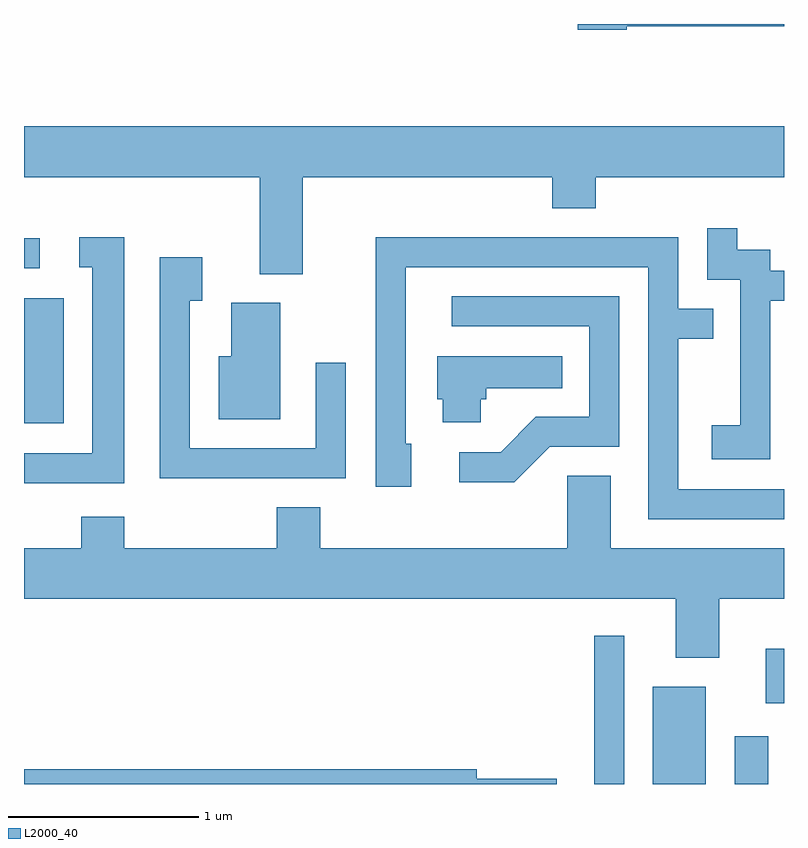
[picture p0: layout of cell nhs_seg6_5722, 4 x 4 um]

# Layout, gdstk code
import gdstk
lib = gdstk.Library(unit=1e-6, precision=1e-09)
def R(c, l, rs):  # rectangles x0, y0, x1, y1
    for r in rs: c.add(gdstk.rectangle(r[:2], r[2:], *l))
def P(c, l, *ps):  # polygons
    for p in ps: c.add(gdstk.Polygon(p, *l))
L2000_40 = (2000, 40)

nhs_seg6_5722 = lib.new_cell('nhs_seg6_5722')
R(nhs_seg6_5722, L2000_40, [(362.611,1560.162,362.769,1560.943), (362.921,1560.162,363.199,1560.674), (363.351,1560.162,363.529,1560.414), (363.516,1560.586,363.611,1560.874), (359.611,1562.061,359.819,1562.719), (359.611,1562.876,359.693,1563.034)])
P(nhs_seg6_5722, L2000_40, [(362.784,1564.151),(363.611,1564.151),(363.611,1564.162),(362.526,1564.162),(362.526,1564.131),(362.784,1564.131)],
  [(361.079,1563.356),(362.391,1563.356),(362.391,1563.191),(362.619,1563.191),(362.619,1563.356),(363.611,1563.356),(363.611,1563.624),(359.611,1563.624),(359.611,1563.356),(360.851,1563.356),(360.851,1562.846),(361.079,1562.846)],
  [(363.539,1562.706),(363.611,1562.706),(363.611,1562.864),(363.539,1562.864),(363.539,1562.974),(363.364,1562.974),(363.364,1563.088),(363.206,1563.088),(363.206,1562.816),(363.381,1562.816),(363.381,1562.049),(363.231,1562.049),(363.231,1561.871),(363.539,1561.871)],
  [(363.611,1561.714),(363.054,1561.714),(363.054,1562.506),(363.238,1562.506),(363.238,1562.664),(363.054,1562.664),(363.054,1563.039),(361.461,1563.039),(361.461,1561.726),(361.649,1561.726),(361.649,1561.954),(361.619,1561.954),(361.619,1562.881),(362.896,1562.881),(362.896,1561.556),(363.611,1561.556)],
  [(360.139,1563.039),(359.903,1563.039),(359.903,1562.881),(359.971,1562.881),(359.971,1561.904),(359.611,1561.904),(359.611,1561.746),(360.139,1561.746)],
  [(361.304,1562.378),(361.146,1562.378),(361.146,1561.929),(360.484,1561.929),(360.484,1562.706),(360.549,1562.706),(360.549,1562.934),(360.326,1562.934),(360.326,1561.771),(361.304,1561.771)],
  [(362.377,1561.936),(362.744,1561.936),(362.744,1562.729),(361.863,1562.729),(361.863,1562.571),(362.586,1562.571),(362.586,1562.094),(362.304,1562.094),(362.119,1561.909),(361.903,1561.909),(361.903,1561.751),(362.192,1561.751)],
  [(360.959,1562.694),(360.701,1562.694),(360.701,1562.414),(360.636,1562.414),(360.636,1562.081),(360.959,1562.081)],
  [(362.014,1562.186),(362.044,1562.186),(362.044,1562.246),(362.443,1562.246),(362.443,1562.414),(361.786,1562.414),(361.786,1562.186),(361.816,1562.186),(361.816,1562.066),(362.014,1562.066)],
  [(363.041,1560.826),(363.269,1560.826),(363.269,1561.136),(363.611,1561.136),(363.611,1561.404),(362.699,1561.404),(362.699,1561.784),(362.471,1561.784),(362.471,1561.404),(361.169,1561.404),(361.169,1561.619),(360.941,1561.619),(360.941,1561.404),(360.139,1561.404),(360.139,1561.569),(359.911,1561.569),(359.911,1561.404),(359.611,1561.404),(359.611,1561.136),(363.041,1561.136)],
  [(362.414,1560.189),(361.994,1560.189),(361.994,1560.239),(359.611,1560.239),(359.611,1560.162),(362.414,1560.162)])

lib.write_gds('nhs_seg6_5722.gds')
